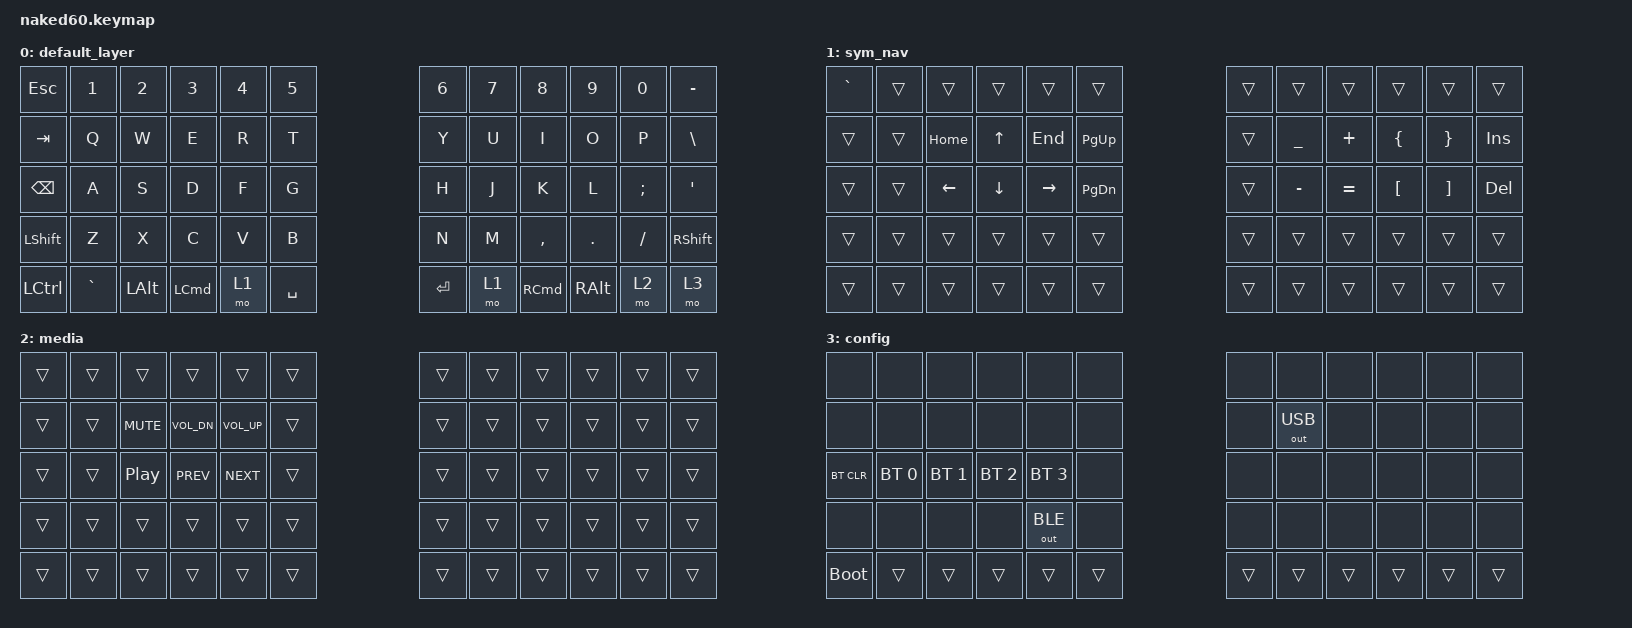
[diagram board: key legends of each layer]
/*
 * Copyright (c) 2020 The ZMK Contributors
 *
 * SPDX-License-Identifier: MIT
 */

#include <behaviors.dtsi>
#include <dt-bindings/zmk/keys.h>
#include <dt-bindings/zmk/bt.h>
#include <dt-bindings/zmk/outputs.h>


/ {
    keymap {
        compatible = "zmk,keymap";

        default_layer {
            // ------------------------------------------------------------------------------------------------------------
            // |  ESC  |  1   |  2   |  3   |  4   |  5     |-------|-------|   6    |  7   |  8   |  9    |   0  |  -    |
            // |  TAB  |  Q   |  W   |  E   |  R   |  T     |-------|-------|   Y    |  U   |  I   |  O    |   P  |  \    |
            // | BKSP  |  A   |  S   |  D   |  F   |  G     |-------|-------|   H    |  J   |  K   |  L    |   ;  |  '    |
            // | SHIFT |  Z   |  X   |  C   |  V   |  B     |-------|-------|   N    |  M   |  ,   |  .    |   /  | SHIFT |
            // |-------| CTRL |  `   | OPT  | CMD  | SYMNAV | SPACE | ENTER | SYMNAV | CMD  | OPT  | MEDIA | CONF |-------|


            bindings = <
                &kp ESC    &kp N1    &kp N2    &kp N3   &kp N4   &kp N5                    &kp N6 &kp N7   &kp N8    &kp N9  &kp N0    &kp MINUS
                &kp TAB    &kp Q     &kp W     &kp E    &kp R    &kp T                     &kp Y  &kp U    &kp I     &kp O   &kp P     &kp BSLH
                &kp BSPC   &kp A     &kp S     &kp D    &kp F    &kp G                     &kp H  &kp J    &kp K     &kp L   &kp SEMI  &kp SQT
                &kp LSHFT  &kp Z     &kp X     &kp C    &kp V    &kp B                     &kp N  &kp M    &kp COMMA &kp DOT &kp FSLH  &kp RSHFT
                           &kp LCTRL &kp GRAVE &kp LALT &kp LCMD &mo 1 &kp SPACE &kp RET   &mo 1  &kp RCMD &kp RALT  &mo 2   &mo 3
            >;
        };

        sym_nav {
            // --------------------------------------------------------------------------------------------------------
            // |  `   |      |      |      |      |      |-------|-------|       |      |      |      |       |       |
            // |      |      | HOME |  ^   | END  | PU   |-------|-------|       |  _   |  +   |  {   |   }   |  INS  |
            // | CAPS |      |  <-  |  v   |  ->  | PD   |-------|-------|       |  -   |  =   |  [   |   ]   |  DEL  |
            // |      |      |      |      |      |      |-------|-------|       |      |      |      |       |       |
            // |------|      |      |      |      |      |       |       |       |      |      |      |       |-------|
            bindings = <
                &kp GRAVE &trans   &trans   &trans   &trans    &trans                  &trans &trans    &trans    &trans   &trans   &trans
                &trans    &trans   &kp HOME &kp UP   &kp END   &kp PG_UP               &trans &kp UNDER &kp PLUS  &kp LBRC &kp RBRC &kp INS
                &trans    &trans   &kp LEFT &kp DOWN &kp RIGHT &kp PG_DN               &trans &kp MINUS &kp EQUAL &kp LBKT &kp RBKT &kp DEL
                &trans    &trans   &trans   &trans   &trans    &trans                  &trans &trans    &trans    &trans   &trans   &trans
                          &trans   &trans   &trans   &trans    &trans    &trans &trans &trans &trans    &trans    &trans   &trans
            >;
        };

        media {
            // ----------------------------------------------------------------------------------------------------------
            // |      |      |      |      |      |      |-------|-------|       |      |      |      |       |       |
            // |      |      | MUTE | Vol- | Vol+ |      |-------|-------|       |      |      |      |       |       |
            // |      |      | PLAY | PREV | NEXT |      |-------|-------|       |      |      |      |       |       |
            // |      |      |      |      |      |      |-------|-------|       |      |      |      |       |       |
            // |------|      |      |      |      |      |       |       |       |      |      |      |       |-------|
            bindings = <
                &trans &trans &trans     &trans       &trans       &trans               &trans &trans &trans &trans &trans &trans
                &trans &trans &kp C_MUTE &kp C_VOL_DN &kp C_VOL_UP &trans               &trans &trans &trans &trans &trans &trans
                &trans &trans &kp C_PP   &kp C_PREV   &kp C_NEXT   &trans               &trans &trans &trans &trans &trans &trans
                &trans &trans &trans     &trans       &trans       &trans               &trans &trans &trans &trans &trans &trans
                       &trans &trans     &trans       &trans       &trans &trans &trans &trans &trans &trans &trans &trans
            >;
        };

        config {
            // ----------------------------------------------------------------------------------------------------------
            // |  NA  |  NA  |  NA  |  NA  |  NA  |  NA  |------|------|  NA  |  NA  |  NA  |  NA  |  NA  |  NA  |
            // |  NA  |  NA  |  NA  |  NA  |  NA  |  NA  |------|------|  NA  | USB  |  NA  |  NA  |  NA  |  NA  |
            // |BT_CLR| BT0  | BT1  | BT2  | BT3  |  NA  |------|------|  NA  |  NA  |  NA  |  NA  |  NA  |  NA  |
            // |  NA  |  NA  |  NA  |  NA  |  NA  | BLE  |------|------|  NA  |  NA  |  NA  |  NA  |  NA  |  NA  |
            // |------|BOOTLD|      |      |      |      |      |      |      |      |      |      |      |------|
            bindings = <
                &none      &none        &none        &none        &none        &none                &none  &none         &none  &none   &none   &none
                &none      &none        &none        &none        &none        &none                &none  &out OUT_USB  &none  &none   &none   &none
                &bt BT_CLR &bt BT_SEL 0 &bt BT_SEL 1 &bt BT_SEL 2 &bt BT_SEL 3 &none                &none  &none         &none  &none   &none   &none
                &none      &none        &none        &none        &out OUT_BLE &none                &none  &none         &none  &none   &none   &none
                           &bootloader  &trans       &trans       &trans       &trans &trans &trans &trans &trans        &trans &trans  &trans
            >;
        };
    };
};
